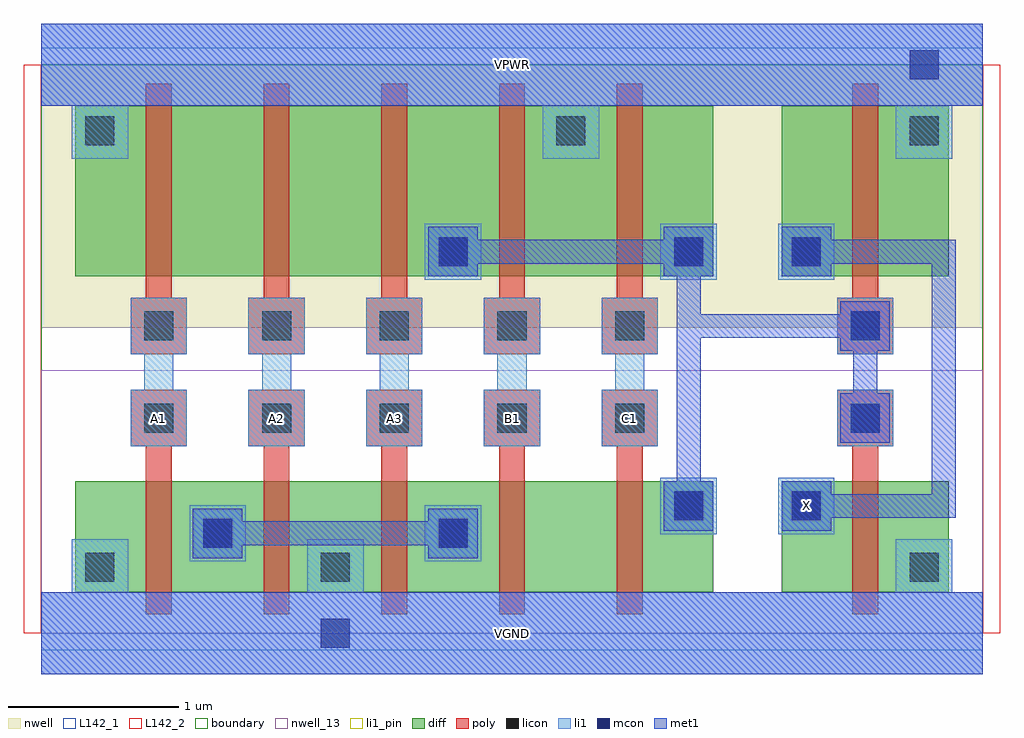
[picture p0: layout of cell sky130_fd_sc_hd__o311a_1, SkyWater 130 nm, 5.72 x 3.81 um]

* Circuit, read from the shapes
.subckt sky130_fd_sc_hd__o311a_1 A1 A2 A3 B1 C1 VGND VPWR X
XM1 n1 A1 VGND VSUBS sky130_fd_pr__nfet_01v8 w=0.65 l=0.15
XM2 VGND A2 n1 VSUBS sky130_fd_pr__nfet_01v8 w=0.65 l=0.15
XM3 n1 A3 VGND VSUBS sky130_fd_pr__nfet_01v8 w=0.65 l=0.15
XM4 n2 B1 n1 VSUBS sky130_fd_pr__nfet_01v8 w=0.65 l=0.15
XM5 n3 C1 n2 VSUBS sky130_fd_pr__nfet_01v8 w=0.65 l=0.15
XM6 VGND n3 X VSUBS sky130_fd_pr__nfet_01v8 w=0.65 l=0.15
XM7 n4 A1 VPWR n5 sky130_fd_pr__pfet_01v8 w=1 l=0.15
XM8 n6 A2 n4 n5 sky130_fd_pr__pfet_01v8 w=1 l=0.15
XM9 n3 A3 n6 n5 sky130_fd_pr__pfet_01v8 w=1 l=0.15
XM10 VPWR B1 n3 n5 sky130_fd_pr__pfet_01v8 w=1 l=0.15
XM11 n3 C1 VPWR n5 sky130_fd_pr__pfet_01v8 w=1 l=0.15
XM12 VPWR n3 X n5 sky130_fd_pr__pfet_01v8 w=1 l=0.15
.ends

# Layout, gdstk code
import gdstk
lib = gdstk.Library(unit=1e-6, precision=1e-09)
def R(c, l, rs):  # rectangles x0, y0, x1, y1
    for r in rs: c.add(gdstk.rectangle(r[:2], r[2:], *l))
def A(c, l, x, y, w, h, nx, ny, dx, dy):  # array of equal rectangles
    R(c, l, [(x+i*dx, y+j*dy, x+i*dx+w, y+j*dy+h) for i in range(nx) for j in range(ny)])
def P(c, l, *ps):  # polygons
    for p in ps: c.add(gdstk.Polygon(p, *l))
nwell_13 = (64, 13)
nwell = (64, 20)
diff = (65, 20)
poly = (66, 20)
licon = (66, 44)
li1_pin = (67, 16)
li1 = (67, 20)
mcon = (67, 44)
met1 = (68, 20)
L142_1 = (142, 1)
L142_2 = (142, 2)
boundary = (235, 4)

sky130_fd_sc_hd__o311a_1 = lib.new_cell('sky130_fd_sc_hd__o311a_1')
R(sky130_fd_sc_hd__o311a_1, nwell_13, [(0,0,5.52,1.54)])
R(sky130_fd_sc_hd__o311a_1, nwell, [(0,1.79,5.52,3.33)])
A(sky130_fd_sc_hd__o311a_1, diff, 0.615, 0.24, 0.69, 0.65, 4, 1, 0.69, 0)
A(sky130_fd_sc_hd__o311a_1, diff, 0.615, 2.09, 0.69, 1, 4, 1, 0.69, 0)
R(sky130_fd_sc_hd__o311a_1, diff, [(0.2,0.24,3.94,0.89), (0.2,0.24,0.615,0.89), (3.375,0.24,3.94,0.89), (4.34,0.24,5.32,0.89), (4.34,0.24,4.755,0.89), (4.755,0.24,5.32,0.89), (0.2,2.09,3.94,3.09), (0.2,2.09,0.615,3.09), (3.375,2.09,3.94,3.09), (4.34,2.09,5.32,3.09), (4.34,2.09,4.755,3.09), (4.755,2.09,5.32,3.09)])
P(sky130_fd_sc_hd__o311a_1, poly, [(4.755,0.11),(4.755,1.095),(4.665,1.095),(4.665,1.425),(4.995,1.425),(4.995,1.095),(4.905,1.095),(4.905,0.11)],
  [(4.665,1.635),(4.665,1.965),(4.755,1.965),(4.755,3.22),(4.905,3.22),(4.905,1.965),(4.995,1.965),(4.995,1.635)],
  [(1.305,0.11),(1.305,1.095),(1.215,1.095),(1.215,1.425),(1.545,1.425),(1.545,1.095),(1.455,1.095),(1.455,0.11)],
  [(1.215,1.635),(1.215,1.965),(1.305,1.965),(1.305,3.22),(1.455,3.22),(1.455,1.965),(1.545,1.965),(1.545,1.635)],
  [(0.615,0.11),(0.615,1.095),(0.525,1.095),(0.525,1.425),(0.855,1.425),(0.855,1.095),(0.765,1.095),(0.765,0.11)],
  [(0.525,1.635),(0.525,1.965),(0.615,1.965),(0.615,3.22),(0.765,3.22),(0.765,1.965),(0.855,1.965),(0.855,1.635)],
  [(1.995,0.11),(1.995,1.095),(1.905,1.095),(1.905,1.425),(2.235,1.425),(2.235,1.095),(2.145,1.095),(2.145,0.11)],
  [(1.905,1.635),(1.905,1.965),(1.995,1.965),(1.995,3.22),(2.145,3.22),(2.145,1.965),(2.235,1.965),(2.235,1.635)],
  [(3.375,0.11),(3.375,1.095),(3.285,1.095),(3.285,1.425),(3.615,1.425),(3.615,1.095),(3.525,1.095),(3.525,0.11)],
  [(3.285,1.635),(3.285,1.965),(3.375,1.965),(3.375,3.22),(3.525,3.22),(3.525,1.965),(3.615,1.965),(3.615,1.635)],
  [(2.685,0.11),(2.685,1.095),(2.595,1.095),(2.595,1.425),(2.925,1.425),(2.925,1.095),(2.835,1.095),(2.835,0.11)],
  [(2.595,1.635),(2.595,1.965),(2.685,1.965),(2.685,3.22),(2.835,3.22),(2.835,1.965),(2.925,1.965),(2.925,1.635)])
A(sky130_fd_sc_hd__o311a_1, licon, 0.605, 1.175, 0.17, 0.17, 5, 2, 0.69, 0.54)
R(sky130_fd_sc_hd__o311a_1, licon, [(0.26,0.3,0.43,0.47), (1.64,0.3,1.81,0.47), (5.09,0.3,5.26,0.47), (0.95,0.5,1.12,0.67), (2.33,0.5,2.5,0.67), (3.71,0.66,3.88,0.83), (4.4,0.66,4.57,0.83), (4.745,1.175,4.915,1.345), (4.745,1.715,4.915,1.885), (2.33,2.15,2.5,2.32), (3.71,2.15,3.88,2.32), (4.4,2.15,4.57,2.32), (0.26,2.86,0.43,3.03), (3.02,2.86,3.19,3.03), (5.09,2.86,5.26,3.03)])
R(sky130_fd_sc_hd__o311a_1, li1_pin, [(0,-0.24,5.52,0.24), (4.32,0.58,4.65,0.91), (0,3.09,5.52,3.57)])
P(sky130_fd_sc_hd__o311a_1, li1_pin, [(1.905,1.095),(1.905,1.425),(1.985,1.425),(1.985,1.635),(1.905,1.635),(1.905,1.965),(2.235,1.965),(2.235,1.635),(2.155,1.635),(2.155,1.425),(2.235,1.425),(2.235,1.095)],
  [(0.525,1.095),(0.525,1.425),(0.605,1.425),(0.605,1.635),(0.525,1.635),(0.525,1.965),(0.855,1.965),(0.855,1.635),(0.775,1.635),(0.775,1.425),(0.855,1.425),(0.855,1.095)],
  [(3.285,1.095),(3.285,1.425),(3.365,1.425),(3.365,1.635),(3.285,1.635),(3.285,1.965),(3.615,1.965),(3.615,1.635),(3.535,1.635),(3.535,1.425),(3.615,1.425),(3.615,1.095)],
  [(2.595,1.095),(2.595,1.425),(2.675,1.425),(2.675,1.635),(2.595,1.635),(2.595,1.965),(2.925,1.965),(2.925,1.635),(2.845,1.635),(2.845,1.425),(2.925,1.425),(2.925,1.095)],
  [(1.215,1.095),(1.215,1.425),(1.295,1.425),(1.295,1.635),(1.215,1.635),(1.215,1.965),(1.545,1.965),(1.545,1.635),(1.465,1.635),(1.465,1.425),(1.545,1.425),(1.545,1.095)])
R(sky130_fd_sc_hd__o311a_1, li1, [(0.87,0.42,1.2,0.75), (2.25,0.42,2.58,0.75), (3.63,0.58,3.96,0.91), (4.32,0.58,4.65,0.91), (4.665,1.095,4.995,1.425), (4.665,1.635,4.995,1.965), (2.25,2.07,2.58,2.4), (3.63,2.07,3.96,2.4), (4.32,2.07,4.65,2.4)])
P(sky130_fd_sc_hd__o311a_1, li1, [(1.215,1.095),(1.215,1.425),(1.295,1.425),(1.295,1.635),(1.215,1.635),(1.215,1.965),(1.545,1.965),(1.545,1.635),(1.465,1.635),(1.465,1.425),(1.545,1.425),(1.545,1.095)],
  [(0.18,2.78),(0.18,3.09),(0,3.09),(0,3.57),(5.52,3.57),(5.52,3.09),(5.34,3.09),(5.34,2.78),(5.01,2.78),(5.01,3.09),(3.27,3.09),(3.27,2.78),(2.94,2.78),(2.94,3.09),(0.51,3.09),(0.51,2.78)],
  [(0.525,1.095),(0.525,1.425),(0.605,1.425),(0.605,1.635),(0.525,1.635),(0.525,1.965),(0.855,1.965),(0.855,1.635),(0.775,1.635),(0.775,1.425),(0.855,1.425),(0.855,1.095)],
  [(0,-0.24),(0,0.24),(0.18,0.24),(0.18,0.55),(0.51,0.55),(0.51,0.24),(1.56,0.24),(1.56,0.55),(1.89,0.55),(1.89,0.24),(5.01,0.24),(5.01,0.55),(5.34,0.55),(5.34,0.24),(5.52,0.24),(5.52,-0.24)],
  [(1.905,1.095),(1.905,1.425),(1.985,1.425),(1.985,1.635),(1.905,1.635),(1.905,1.965),(2.235,1.965),(2.235,1.635),(2.155,1.635),(2.155,1.425),(2.235,1.425),(2.235,1.095)],
  [(3.285,1.095),(3.285,1.425),(3.365,1.425),(3.365,1.635),(3.285,1.635),(3.285,1.965),(3.615,1.965),(3.615,1.635),(3.535,1.635),(3.535,1.425),(3.615,1.425),(3.615,1.095)],
  [(2.595,1.095),(2.595,1.425),(2.675,1.425),(2.675,1.635),(2.595,1.635),(2.595,1.965),(2.925,1.965),(2.925,1.635),(2.845,1.635),(2.845,1.425),(2.925,1.425),(2.925,1.095)])
R(sky130_fd_sc_hd__o311a_1, mcon, [(1.64,-0.085,1.81,0.085), (0.95,0.5,1.12,0.67), (2.33,0.5,2.5,0.67), (3.71,0.66,3.88,0.83), (4.4,0.66,4.57,0.83), (4.745,1.175,4.915,1.345), (4.745,1.715,4.915,1.885), (2.33,2.15,2.5,2.32), (3.71,2.15,3.88,2.32), (4.4,2.15,4.57,2.32), (5.09,3.245,5.26,3.415)])
R(sky130_fd_sc_hd__o311a_1, met1, [(0,-0.24,5.52,0.24), (0,3.09,5.52,3.57)])
P(sky130_fd_sc_hd__o311a_1, met1, [(3.65,0.6),(3.65,0.89),(3.725,0.89),(3.725,2.09),(3.65,2.09),(3.65,2.165),(2.56,2.165),(2.56,2.09),(2.27,2.09),(2.27,2.38),(2.56,2.38),(2.56,2.305),(3.65,2.305),(3.65,2.38),(3.94,2.38),(3.94,2.09),(3.865,2.09),(3.865,1.87),(4.685,1.87),(4.685,1.945),(4.975,1.945),(4.975,1.655),(4.9,1.655),(4.9,1.405),(4.975,1.405),(4.975,1.115),(4.685,1.115),(4.685,1.405),(4.76,1.405),(4.76,1.655),(4.685,1.655),(4.685,1.73),(3.865,1.73),(3.865,0.89),(3.94,0.89),(3.94,0.6)],
  [(0.89,0.44),(0.89,0.73),(1.18,0.73),(1.18,0.655),(2.27,0.655),(2.27,0.73),(2.56,0.73),(2.56,0.44),(2.27,0.44),(2.27,0.515),(1.18,0.515),(1.18,0.44)],
  [(4.34,0.6),(4.34,0.89),(4.63,0.89),(4.63,0.815),(5.22,0.815),(5.22,2.165),(4.63,2.165),(4.63,2.09),(4.34,2.09),(4.34,2.38),(4.63,2.38),(4.63,2.305),(5.36,2.305),(5.36,0.675),(4.63,0.675),(4.63,0.6)])
R(sky130_fd_sc_hd__o311a_1, L142_1, [(0,-0.1,5.52,0), (0,3.33,5.52,3.43)])
R(sky130_fd_sc_hd__o311a_1, L142_2, [(-0.1,0,0,3.33), (5.52,0,5.62,3.33)])
R(sky130_fd_sc_hd__o311a_1, boundary, [(0,0,5.52,3.33)])
sky130_fd_sc_hd__o311a_1.add(gdstk.Label('X', (4.485,0.745), layer=67, texttype=5))
sky130_fd_sc_hd__o311a_1.add(gdstk.Label('A3', (2.07,1.26), layer=67, texttype=5))
sky130_fd_sc_hd__o311a_1.add(gdstk.Label('A1', (0.69,1.26), layer=67, texttype=5))
sky130_fd_sc_hd__o311a_1.add(gdstk.Label('C1', (3.45,1.26), layer=67, texttype=5))
sky130_fd_sc_hd__o311a_1.add(gdstk.Label('B1', (2.76,1.26), layer=67, texttype=5))
sky130_fd_sc_hd__o311a_1.add(gdstk.Label('A2', (1.38,1.26), layer=67, texttype=5))
sky130_fd_sc_hd__o311a_1.add(gdstk.Label('VGND', (2.76,0), layer=67, texttype=5))
sky130_fd_sc_hd__o311a_1.add(gdstk.Label('VPWR', (2.76,3.33), layer=67, texttype=5))
sky130_fd_sc_hd__o311a_1.add(gdstk.Label('VGND', (2.76,0), layer=68, texttype=5))
sky130_fd_sc_hd__o311a_1.add(gdstk.Label('VPWR', (2.76,3.33), layer=68, texttype=5))

lib.write_gds('sky130_fd_sc_hd__o311a_1.gds')
